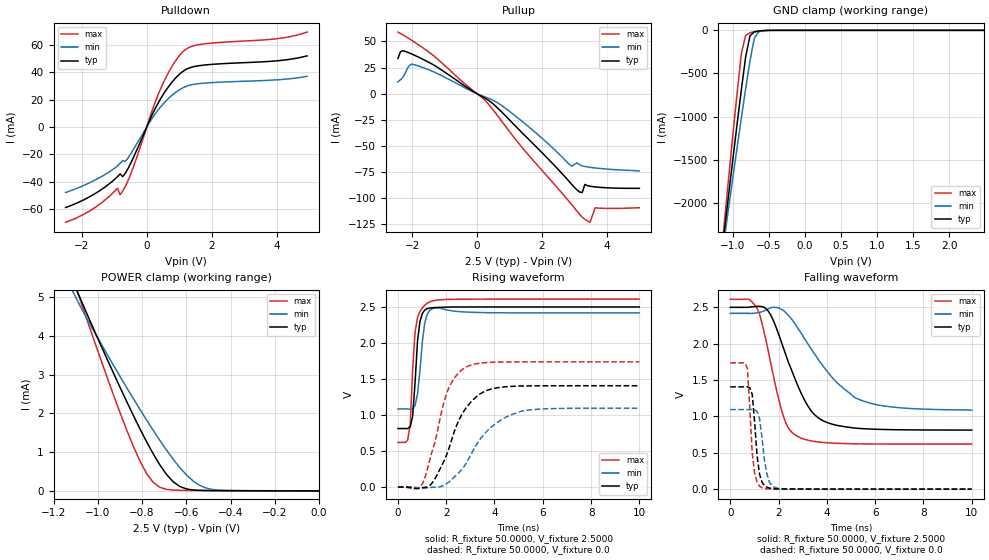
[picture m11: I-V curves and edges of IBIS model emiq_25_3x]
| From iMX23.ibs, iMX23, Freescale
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|   Model emiq_25_3x
[Model]  emiq_25_3x
Model_type I/O
Polarity   Non-Inverting
Enable   Active-Low
Vinl =   0.5000V
Vinh =   2.0000V
Vmeas =  1.2500V
Cref =   15.0000pF
Rref =   50.0000
Vref =   1.2500V
C_comp   3.0000pF   2.0000pF   4.0000pF
[Temperature Range]   50.0000   100.0000   0.0
[Voltage Range]   2.5000V   2.3000V   2.7000V
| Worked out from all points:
|   slope of the pulldown table from 0 to 0.375 V, typ, clamps not added: 20.2 ohm
|   slope of the pullup table from 0 to 0.375 V, typ, clamps not added: 54.8 ohm
|   GND clamp passes 1 mA (typ) near -0.51 V on its own axis
|   POWER clamp passes 1 mA (typ) near -0.75 V on its own axis
|   rising waveform, R_fixture 50.0000, V_fixture 2.5000: 20-80 % time 216ps typ, 233ps min, 211ps max; typ from 0.812 V to 2.5 V
|   rising waveform, R_fixture 50.0000, V_fixture 0.0: 20-80 % time 1.1ns typ, 1.45ns min, 829ps max; typ from 0 V to 1.41 V
|   falling waveform, R_fixture 50.0000, V_fixture 2.5000: 20-80 % time 1.24ns typ, 1.89ns min, 824ps max; typ from 2.5 V to 0.812 V
|   falling waveform, R_fixture 50.0000, V_fixture 0.0: 20-80 % time 226ps typ, 263ps min, 205ps max; typ from 1.41 V to 0 V
[Pulldown]
|Voltage   I(typ)   I(min)   I(max)
-2.5V     -58.8mA    -47.8mA    -69.5mA
-1.62V    -49.02mA   -39.03mA   -59.2mA
-900mV    -36.21mA   -28.3mA    -44.66mA
-820mV    -34.15mA   -26.44mA   -49.44mA
-740mV    -36.25mA   -24.44mA   -46.8mA
-580mV    -30.49mA   -22.76mA   -39.36mA
460mV     22mA       15.63mA    29.69mA
860mV     35.05mA    24.79mA    47.45mA
1.18V     41.72mA    29.44mA    56.4mA
1.66V     45mA       31.88mA    60.42mA
3.98V     48.36mA    34.47mA    64.5mA
4.94V     52.02mA    37.09mA    69.41mA
[Pullup]
|Voltage   I(typ)   I(min)   I(max)
-2.44V    33.84mA    11.47mA    58.98mA
-2.36V    40.3mA     13.4mA     57.59mA
-2.04V    38.34mA    28.13mA    51.6mA
-1.24V    25.65mA    19.55mA    33.73mA
520mV     -10.42mA   -6.682mA   -16.5mA
2.92V     -86.86mA   -69.38mA   -106.3mA
3.08V     -92.07mA   -66.17mA   -112.4mA
3.24V     -94.46mA   -69mA      -118.1mA
3.32V     -86.83mA   -69.59mA   -120.1mA
3.48V     -88.5mA    -70.42mA   -122.9mA
3.64V     -89.16mA   -71.03mA   -109.1mA
5V        -90.5mA    -73.8mA    -109.1mA
[GND_clamp]
|Voltage   I(typ)   I(min)   I(max)
-2.5V     -12.41A    -10.95A    -14.57A
-1.12V    -2.367A    -2.45A     -2.274A
-1.06V    -1.94A     -2.088A    -1.754A
-1V       -1.517A    -1.728A    -1.242A
-940mV    -1.101A    -1.372A    -744.2mA
-880mV    -695mA     -1.022A    -275.6mA
-820mV    -311.5mA   -681.4mA   -59.5mA
-760mV    -64.75mA   -357.6mA   -27.97mA
-700mV    -17.65mA   -92.52mA   -17.85mA
-640mV    -7.537mA   -18.27mA   -10.66mA
-580mV    -3.305mA   -4.101mA   -5.33mA
2.48V     -274.1nA   1.923uA    -3.889uA
[POWER_clamp]
|Voltage   I(typ)   I(min)   I(max)
-2.49V    5.389A     5.778A     4.954A
-1.11V    5.374mA    5.109mA    5.434mA
-1.08V    4.972mA    4.772mA    4.93mA
-960mV    3.424mA    3.541mA    2.963mA
-870mV    2.312mA    2.669mA    1.579mA
-810mV    1.608mA    2.107mA    776.3uA
-750mV    960.5uA    1.566mA    223.8uA
-690mV    429.1uA    1.058mA    40.21uA
-630mV    116.7uA    607uA      16.05uA
-570mV    24.87uA    259.9uA    12.61uA
-510mV    10.08uA    73.37uA    10.96uA
0V        264.6pA    743pA      131.6pA
[Ramp]
| variable   typ   min   max
dV/dt_r  0.8439/1.0863n   0.6567/1.4391n   1.0425/0.8191n
dV/dt_f  1.0126/1.2269n   0.7975/1.8070n   1.2111/0.8308n
R_load = 50.0000
[Rising Waveform]
R_fixture= 50.0000
V_fixture= 2.5000
|time   V(typ)   V(min)   V(max)
0s        812mV      1.084V     619.7mV
400ps     812.2mV    1.084V     647mV
510ps     838mV      1.083V     871.3mV
610ps     982.7mV    1.088V     1.633V
710ps     1.453V     1.133V     2.151V
810ps     2.022V     1.291V     2.354V
910ps     2.295V     1.605V     2.436V
1.11ns    2.457V     2.279V     2.524V
1.21ns    2.477V     2.397V     2.551V
10ns      2.5V       2.417V     2.61V
[Rising Waveform]
R_fixture= 50.0000
V_fixture= 0.0
|time   V(typ)   V(min)   V(max)
0s        0V         0V         0V
610ps     -10.7mV    -949.4uV   -29.55mV
1.01ns    -9.138mV   -19.13mV   40.54mV
1.41ns    54.46mV    -4.27mV    488.6mV
2.02ns    449.6mV    48.36mV    1.306V
2.42ns    847.1mV    167.7mV    1.55V
2.83ns    1.102V     333mV      1.667V
3.84ns    1.358V     824.4mV    1.731V
5.05ns    1.402V     1.045V     1.737V
10ns      1.406V     1.095V     1.738V
[Falling Waveform]
R_fixture= 50.0000
V_fixture= 2.5000
|time   V(typ)   V(min)   V(max)
0s        2.5V       2.417V     2.61V
710ps     2.5V       2.417V     2.614V
1.11ns    2.513V     2.424V     2.489V
1.62ns    2.426V     2.488V     1.824V
2.22ns    1.924V     2.452V     982.5mV
2.73ns    1.477V     2.249V     736.1mV
3.13ns    1.19V      2.042V     680.8mV
3.64ns    982mV      1.787V     649.6mV
5.25ns    837mV      1.246V     623.1mV
10ns      812.4mV    1.088V     619.8mV
[Falling Waveform]
R_fixture= 50.0000
V_fixture= 0.0
|time   V(typ)   V(min)   V(max)
0s        1.406V     1.095V     1.738V
710ps     1.406V     1.095V     1.66V
910ps     1.304V     1.095V     499.6mV
1.01ns    918.1mV    1.091V     216.9mV
1.11ns    463.7mV    1.071V     97.63mV
1.21ns    210.6mV    974.3mV    41.43mV
1.31ns    100.1mV    720.5mV    17.85mV
1.52ns    26.38mV    204.3mV    4.16mV
1.92ns    3.964mV    16.67mV    2mV
10ns      1.911uV    14.29uV    0V
